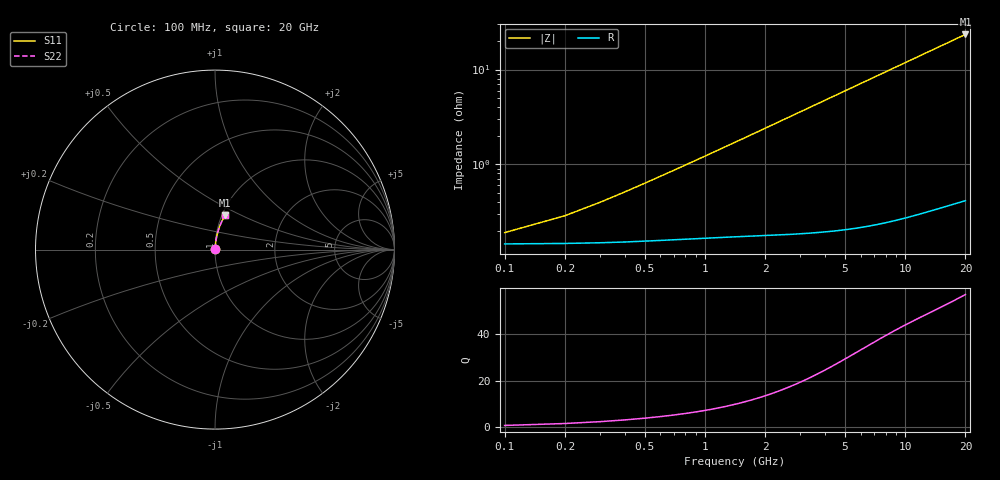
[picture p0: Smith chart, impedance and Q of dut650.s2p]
! Touchstone file exported from HFSS 2026.1.0
!  File:  C:/ffzhzh/LocalFiles/Ansys_Project_Files/temp_train_BSMRDL_650_1783016938_4048.aedt
!  Generated:  02:30:39 AM Jul  3, 2026
!  Design:  BSMRDL
!  Project:  temp_train_BSMRDL_650_1783016938_4048
! Variables:
!  h_bsmrdl = 2.58um
!  h_ox = 20um
!  h_rdl = 5um
!  h_sub = 80um
!  h_tmrdl = 5um
!  h_tsv = 80um
!  h_via = 3um
!  l_bsmrdl = 132.03um
!  l_sub = 532.03um
!  l_tmrdl = 200um
!  m_sub = 200um
!  pitch = 57.02um
!  r_tsv = 6um
!  s_tmrdl = 10um
!  w_bsmrdl = 15.55um
!  w_sub = 500um
!  w_tmrdl = 12um
!  x_tsv_center1 = 206um
!  x_tsv_center2 = 353.58um
!  x_tsv_center3 = 565.58um
!  x_tsv_center4 = 713.16um
!  x_tsv_center5 = 925.16um
!  x_tsv_center6 = 1072.74um
# GHz S MA R 50.000000
! Terminal data exported
! Port[1] = BSM_RDL1_1_T1
! Port[2] = BSM_RDL1_1_T2
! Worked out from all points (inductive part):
!   200 points, 100 MHz to 20 GHz, reference 50 ohm
!   read as one part in series: L = 194 pH near 400 MHz
!   highest Q = 56.8 at 20 GHz (marker M1), where L = 187 pH
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0.1  0.001797 36.6  0.9986 -0.1  0.9986 -0.1  0.001797 36.6
! Gamma 0 0 0 0
! Port Impedance 50 0 50 0
0.2  0.002591 55.6  0.9985 -0.2  0.9985 -0.2  0.002591 55.6
0.3  0.003529 64.9  0.9985 -0.2  0.9985 -0.2  0.003529 64.9
0.4  0.004514 70.1  0.9985 -0.3  0.9985 -0.3  0.004514 70.1
0.5  0.005517 73.4  0.9984 -0.4  0.9984 -0.4  0.005517 73.4
0.6  0.006526 75.6  0.9984 -0.5  0.9984 -0.5  0.006526 75.6
0.8  0.008549 78.5  0.9983 -0.6  0.9983 -0.6  0.008549 78.5
1.1  0.01159 80.9  0.9983 -0.9  0.9983 -0.9  0.01159 80.9
1.5  0.01566 82.5  0.9982 -1.2  0.9982 -1.2  0.01566 82.5
1.8  0.01872 83.2  0.9981 -1.4  0.9981 -1.4  0.01872 83.2
2.1  0.02178 83.7  0.998 -1.6  0.998 -1.6  0.02178 83.7
2.7  0.02791 84.2  0.9978 -2.1  0.9978 -2.1  0.02791 84.2
3.5  0.03609 84.3  0.9975 -2.7  0.9975 -2.7  0.03609 84.3
4.2  0.04323 84.2  0.9971 -3.2  0.9971 -3.2  0.04323 84.2
5  0.05139 83.9  0.9967 -3.9  0.9967 -3.9  0.05139 83.9
5.9  0.06053 83.4  0.996 -4.5  0.996 -4.5  0.06053 83.4
6.8  0.06965 82.9  0.9953 -5.2  0.9953 -5.2  0.06965 82.9
8.3  0.08476 82.0  0.994 -6.4  0.994 -6.4  0.08476 82.0
10.1  0.1027 80.7  0.992 -7.7  0.992 -7.7  0.1027 80.7
13.4  0.1352 78.4  0.9876 -10.2  0.9876 -10.2  0.1352 78.4
16.7  0.1669 76.1  0.9823 -12.7  0.9823 -12.7  0.1669 76.1
20  0.1979 73.7  0.9762 -15.1  0.9762 -15.1  0.1979 73.7
